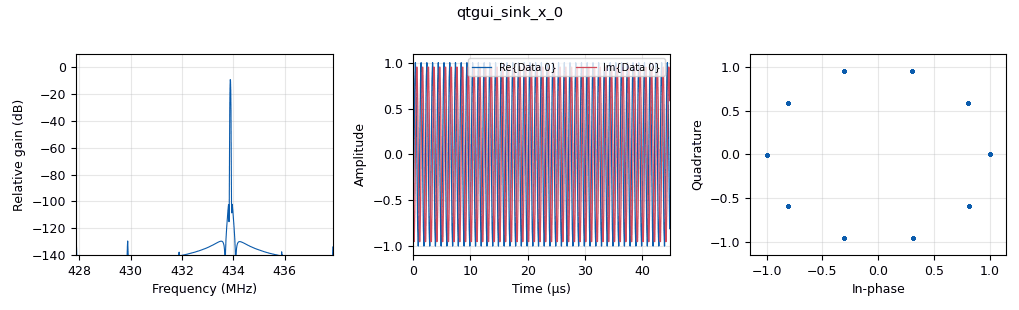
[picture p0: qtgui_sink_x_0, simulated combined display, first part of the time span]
options:
  parameters:
    author: kesenheimer
    generate_options: qt_gui
    id: send
    output_language: python
    title: OOK sender
  states: {}

blocks:
- name: carrier
  id: variable
  parameters:
    value: 1e6
  states: {}
- name: freq
  id: variable
  parameters:
    value: 432.88e6
  states: {}
- name: gain
  id: variable_qtgui_range
  parameters:
    start: '1'
    step: '0.1'
    stop: '10'
    value: '1'
  states: {}
- name: padding
  id: variable
  parameters:
    value: 100*"\x00"
  states: {}
- name: padding_bytes
  id: variable
  parameters:
    value: '[ord(i) for i in padding]'
  states: {}
- name: payload
  id: variable
  parameters:
    comment: |-
      * different headers
      str("\x02\xaa\xaa\xa8\x00")
      str("\xaa\xaa\xaa\x00")
      str("\x01\x55\x55\x54\x00")

      * payloads
      str("\x01\x55\x55\x54\x00\x92\x4d\x24\x92\x49\x26\xd2\x4d\x24\x9b\x6d\xb4\x9a\x49\x34\xd3\x6d\xb4\x9b\x4d\xb6\xdb\x6d\x36\xd8")
    value: str("\x01\x55\x55\x54\x00\x92\x4d\x24\x92\x49\x26\xd2\x4d\x24\x9b\x6d\xb4\x9a\x49\x34\xd3\x6d\xb4\x9b\x4d\xb6\xdb\x6d\x36\xd8")
  states: {}
- name: payload_bytes
  id: variable
  parameters:
    value: '[ord(i) for i in payload]'
  states: {}
- name: samp_rate
  id: variable
  parameters:
    value: 10e6
  states: {}
- name: samples_per_symbol
  id: variable
  parameters:
    value: '3800'
  states: {}
- name: analog_sig_source_x_0
  id: analog_sig_source_x
  parameters:
    amp: '1'
    freq: carrier
    offset: '0'
    phase: '0'
    samp_rate: samp_rate
    type: complex
    waveform: analog.GR_COS_WAVE
  states: {}
- name: blocks_file_sink_0
  id: blocks_file_sink
  parameters:
    file: simulated_10Msps.raw
    type: complex
  states: {state: disabled}
- name: blocks_float_to_complex_0
  id: blocks_float_to_complex
  parameters: {}
  states: {}
- name: blocks_message_strobe_0
  id: blocks_message_strobe
  parameters:
    msg: pmt.cons(pmt.PMT_NIL, pmt.init_u8vector(len(payload_bytes) + len(padding_bytes), payload_bytes + padding_bytes))
    period: '1000'
  states: {}
- name: blocks_multiply_const_vxx_0
  id: blocks_multiply_const_vxx
  parameters:
    const: gain
    type: complex
  states: {}
- name: blocks_multiply_xx_0
  id: blocks_multiply_xx
  parameters:
    type: complex
  states: {}
- name: blocks_null_source_0
  id: blocks_null_source
  parameters:
    type: float
  states: {}
- name: blocks_repeat_0
  id: blocks_repeat
  parameters:
    interp: samples_per_symbol
    type: complex
  states: {}
- name: blocks_uchar_to_float_0
  id: blocks_uchar_to_float
  parameters: {}
  states: {}
- name: blocks_unpack_k_bits_bb_0
  id: blocks_unpack_k_bits_bb
  parameters:
    k: '8'
  states: {}
- name: import_0
  id: import
  parameters:
    imports: import numpy as np
  states: {}
- name: pdu_pdu_to_stream_x_0
  id: pdu_pdu_to_stream_x
  parameters:
    depth: len(payload)+len(padding)
    early_behavior: pdu.EARLY_BURST_APPEND
    type: byte
  states: {}
- name: qtgui_sink_x_0
  id: qtgui_sink_x
  parameters:
    bw: samp_rate
    fc: freq
    fftsize: '1024'
    type: complex
  states: {}
- name: soapy_hackrf_sink_0
  id: soapy_hackrf_sink
  parameters:
    amp: 'True'
    bandwidth: samp_rate
    center_freq: freq
    samp_rate: samp_rate
    type: fc32
    vga: '47'
  states: {}

connections:
- [analog_sig_source_x_0, '0', blocks_multiply_xx_0, '1']
- [blocks_float_to_complex_0, '0', blocks_repeat_0, '0']
- [blocks_message_strobe_0, strobe, pdu_pdu_to_stream_x_0, pdus]
- [blocks_multiply_const_vxx_0, '0', soapy_hackrf_sink_0, '0']
- [blocks_multiply_xx_0, '0', blocks_file_sink_0, '0']
- [blocks_multiply_xx_0, '0', blocks_multiply_const_vxx_0, '0']
- [blocks_multiply_xx_0, '0', qtgui_sink_x_0, '0']
- [blocks_null_source_0, '0', blocks_float_to_complex_0, '1']
- [blocks_repeat_0, '0', blocks_multiply_xx_0, '0']
- [blocks_uchar_to_float_0, '0', blocks_float_to_complex_0, '0']
- [blocks_unpack_k_bits_bb_0, '0', blocks_uchar_to_float_0, '0']
- [pdu_pdu_to_stream_x_0, '0', blocks_unpack_k_bits_bb_0, '0']

metadata:
  file_format: 1
  grc_version: 3.10.8.0
